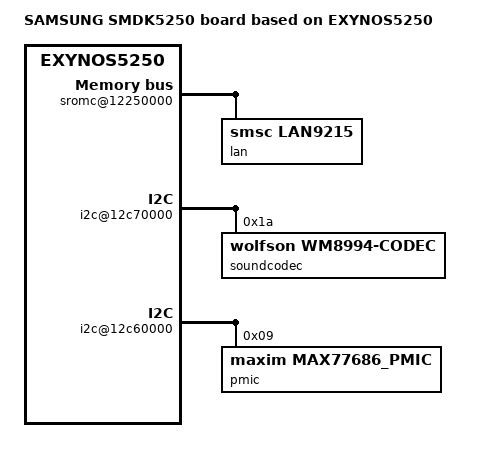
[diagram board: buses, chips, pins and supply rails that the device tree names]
/*
 * SAMSUNG SMDK5250 board device tree source
 *
 * Copyright (c) 2012 Samsung Electronics Co., Ltd.
 *		http://www.samsung.com
 *
 * This program is free software; you can redistribute it and/or modify
 * it under the terms of the GNU General Public License version 2 as
 * published by the Free Software Foundation.
*/

/dts-v1/;
/include/ ARCH_CPU_DTS

/ {
	model = "SAMSUNG SMDK5250 board based on EXYNOS5250";
	compatible = "samsung,smdk5250", "samsung,exynos5250";

	aliases {
		i2c0 = "/i2c@12c60000";
		i2c1 = "/i2c@12c70000";
		i2c2 = "/i2c@12c80000";
		i2c3 = "/i2c@12c90000";
		i2c4 = "/i2c@12ca0000";
		i2c5 = "/i2c@12cb0000";
		i2c6 = "/i2c@12cc0000";
		i2c7 = "/i2c@12cd0000";
		spi0 = "/spi@12d20000";
		spi1 = "/spi@12d30000";
		spi2 = "/spi@12d40000";
		spi3 = "/spi@131a0000";
		spi4 = "/spi@131b0000";
	};

	sromc@12250000 {
		bank = <1>;
		srom-timing = <1 9 12 1 6 1 1>;
		width = <2>;
		lan@5000000 {
			compatible = "smsc,lan9215", "smsc,lan";
			reg = <0x5000000 0x100>;
			phy-mode = "mii";
		};
	};

	sound@12d60000 {
		samsung,i2s-epll-clock-frequency = <192000000>;
		samsung,i2s-sampling-rate = <48000>;
		samsung,i2s-bits-per-sample = <16>;
		samsung,i2s-channels = <2>;
		samsung,i2s-lr-clk-framesize = <256>;
		samsung,i2s-bit-clk-framesize = <32>;
		samsung,codec-type = "wm8994";
	};

	i2c@12c70000 {
		soundcodec@1a {
			reg = <0x1a>;
			compatible = "wolfson,wm8994-codec";
		};
	};

	i2c@12c60000 {
		pmic@9 {
			reg = <0x9>;
			compatible = "maxim,max77686_pmic";
		};
	};
};
